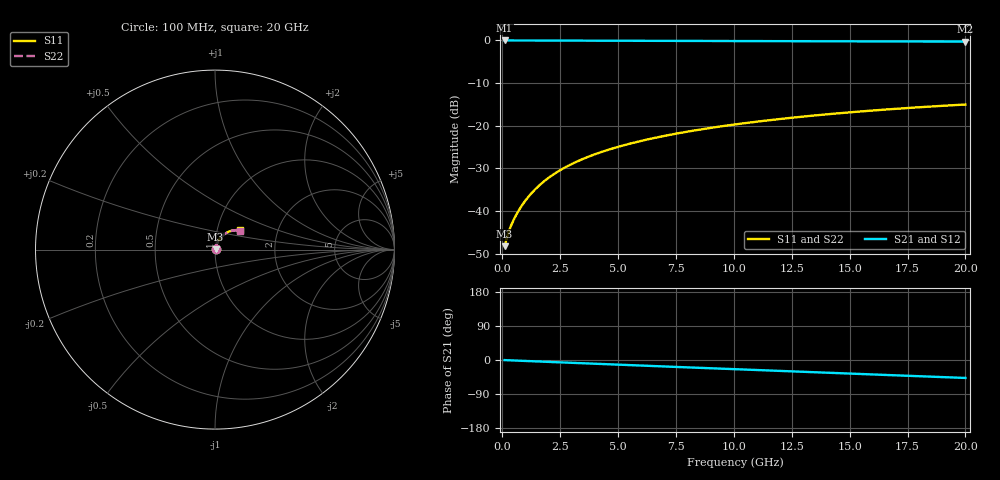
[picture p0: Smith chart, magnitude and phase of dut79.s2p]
! Touchstone file exported from HFSS 2026.1.0
!  File:  C:/ffzhzh/LocalFiles/Ansys_Project_Files/temp_train_TMRDL_79_1782881337_8056.aedt
!  Generated:  12:50:06 PM Jul  1, 2026
!  Design:  TMRDL
!  Project:  temp_train_TMRDL_79_1782881337_8056
! Variables:
!  h_bsmrdl = 2um
!  h_ox = 20um
!  h_rdl = 5um
!  h_sub = 80um
!  h_tmrdl = 4.82um
!  h_tsv = 80um
!  h_via = 3um
!  l_bsmrdl = 300um
!  l_sub = 1233.58um
!  l_tmrdl = 833.58um
!  m_sub = 200um
!  pitch = 27.48um
!  r_tsv = 6um
!  s_tmrdl = 10um
!  w_bsmrdl = 18um
!  w_sub = 500um
!  w_tmrdl = 18.65um
!  x_tsv_center1 = 842.905um
!  x_tsv_center2 = 1160.905um
!  x_tsv_center3 = 2013.135um
!  x_tsv_center4 = 2331.135um
!  x_tsv_center5 = 3183.365um
!  x_tsv_center6 = 3501.365um
# GHz S MA R 50.000000
! Terminal data exported
! Port[1] = TM_RDL1_1_T1
! Port[2] = TM_RDL1_1_T2
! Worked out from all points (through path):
!   200 points, 100 MHz to 20 GHz, reference 50 ohm
!   highest |S21| = -0.03 dB at 100 MHz (marker M1); lowest = -0.3 dB at 20 GHz (marker M2)
!   group delay of S21, straight-line fit = 6.55 ps
!   lowest |S11| = -48.3 dB at 100 MHz (marker M3), VSWR 1.01, Z = 50.4 + j0.164 ohm
!   |S11| at or under -10 dB: start of sweep to end of sweep
!   |S22| runs from -48.3 to -15.0 dB; largest |S21 - S12| = 3.1e-15
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0.1  0.003858 25.0  0.9965 -0.3  0.9965 -0.3  0.003858 25.0
! Gamma 0 0 0 0
! Port Impedance 50 0 50 0
0.2  0.004889 38.2  0.9962 -0.5  0.9962 -0.5  0.004889 38.2
0.3  0.005931 45.4  0.9959 -0.8  0.9959 -0.8  0.005932 45.4
0.4  0.006937 50.5  0.9957 -1.0  0.9957 -1.0  0.006938 50.5
0.5  0.00794 54.5  0.9955 -1.3  0.9955 -1.3  0.00794 54.5
0.7  0.009996 60.4  0.9953 -1.8  0.9953 -1.8  0.009997 60.4
0.9  0.01213 64.3  0.9951 -2.3  0.9951 -2.3  0.01213 64.2
1.1  0.01433 66.9  0.9949 -2.8  0.9949 -2.8  0.01433 66.8
1.3  0.01656 68.6  0.9947 -3.3  0.9947 -3.3  0.01656 68.6
1.7  0.02105 70.6  0.9943 -4.3  0.9943 -4.3  0.02106 70.6
2.2  0.02667 71.5  0.9936 -5.5  0.9936 -5.5  0.02667 71.4
2.8  0.0333 71.4  0.9928 -7.0  0.9928 -7.0  0.03331 71.4
3.5  0.04086 70.7  0.9916 -8.7  0.9916 -8.7  0.04087 70.6
4.2  0.0482 69.6  0.9904 -10.4  0.9904 -10.4  0.04821 69.5
5  0.05635 68.2  0.989 -12.3  0.989 -12.3  0.05636 68.1
5.9  0.06523 66.4  0.9875 -14.5  0.9875 -14.5  0.06525 66.3
6.8  0.07386 64.7  0.9859 -16.6  0.9859 -16.6  0.07388 64.5
8.3  0.08773 61.6  0.9834 -20.2  0.9834 -20.2  0.08776 61.5
10.1  0.1036 58.0  0.9805 -24.4  0.9805 -24.4  0.1037 57.8
13.4  0.1308 51.1  0.9753 -32.1  0.9753 -32.1  0.1309 50.8
16.7  0.1553 44.2  0.9702 -39.8  0.9702 -39.8  0.1554 43.8
20  0.1767 37.1  0.9653 -47.4  0.9653 -47.4  0.1768 36.7
